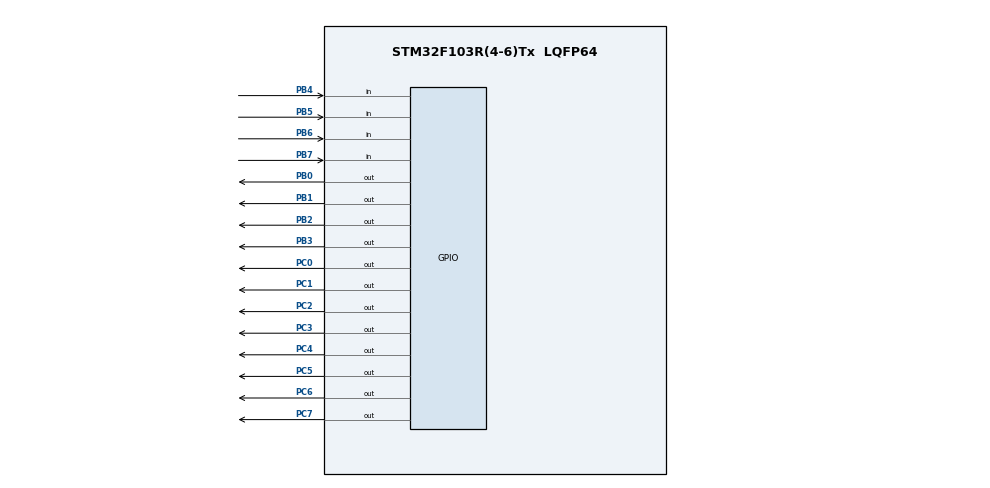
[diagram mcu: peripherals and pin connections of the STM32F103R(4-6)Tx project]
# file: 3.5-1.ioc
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Mcu.Family=STM32F1
Mcu.Name=STM32F103R(4-6)Tx
Mcu.Package=LQFP64
NVIC.PriorityGroup=NVIC_PRIORITYGROUP_4
PB0.PinState=GPIO_PIN_SET
PB0.Signal=GPIO_Output
PB1.PinState=GPIO_PIN_SET
PB1.Signal=GPIO_Output
PB2.PinState=GPIO_PIN_SET
PB2.Signal=GPIO_Output
PB3.PinState=GPIO_PIN_SET
PB3.Signal=GPIO_Output
PB4.Signal=GPIO_Input
PB5.Signal=GPIO_Input
PB6.Signal=GPIO_Input
PB7.Signal=GPIO_Input
PC0.PinState=GPIO_PIN_SET
PC0.Signal=GPIO_Output
PC1.PinState=GPIO_PIN_SET
PC1.Signal=GPIO_Output
PC2.PinState=GPIO_PIN_SET
PC2.Signal=GPIO_Output
PC3.PinState=GPIO_PIN_SET
PC3.Signal=GPIO_Output
PC4.PinState=GPIO_PIN_SET
PC4.Signal=GPIO_Output
PC5.PinState=GPIO_PIN_SET
PC5.Signal=GPIO_Output
PC6.PinState=GPIO_PIN_SET
PC6.Signal=GPIO_Output
PC7.PinState=GPIO_PIN_SET
PC7.Signal=GPIO_Output
ProjectManager.HeapSize=0x200
ProjectManager.StackSize=0x400
ProjectManager.TargetToolchain=STM32CubeIDE
RCC.APB1Freq_Value=8000000
RCC.APB2Freq_Value=8000000
VP_SYS_VS_ND.Mode=No_Debug
board=custom

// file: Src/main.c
/* USER CODE BEGIN Header */
/**
  ******************************************************************************
  * @file           : main.c
  * @brief          : Main program body
  ******************************************************************************
  * @attention
  *
  * <h2><center>&copy; Copyright (c) 2019 STMicroelectronics.
  * All rights reserved.</center></h2>
  *
  * This software component is licensed by ST under BSD 3-Clause license,
  * the "License"; You may not use this file except in compliance with the
  * License. You may obtain a copy of the License at:
  *                        opensource.org/licenses/BSD-3-Clause
  *
  ******************************************************************************
  */
/* USER CODE END Header */

#include "main.h"

/* USER CODE BEGIN PV */
//共阳极数码管0~f的段码
const uint8_t SegmentCodes[]=
{
0xc0,0xf9,0xa4,0xb0,0x99,
0x92,0x82,0xf8,0x80,0x90,
0x88,0x83,0xc6,0xa1,0x86,0x8e
};
/* USER CODE END PV */

void SystemClock_Config(void);
static void MX_GPIO_Init(void);
/* USER CODE BEGIN PFP */
void ByteOut2PC(uint8_t dat);
/* USER CODE END PFP */

int main(void)
{
  /* USER CODE BEGIN 1 */
	uint8_t KeyValue=0x10;  //按下的键码
  /* USER CODE END 1 */

  /* MCU Configuration--------------------------------------------------------*/

  /* Reset of all peripherals, Initializes the Flash interface and the Systick. */
  HAL_Init();

  /* Configure the system clock */
  SystemClock_Config();

  /* Initialize all configured peripherals */
  MX_GPIO_Init();

  /* Infinite loop */
  /* USER CODE BEGIN WHILE */
  while (1)
  {
	  //扫描第一行
	  HAL_GPIO_WritePin(GPIOB,GPIO_PIN_3,1);
	  HAL_GPIO_WritePin(GPIOB,GPIO_PIN_0,0);
	  if(HAL_GPIO_ReadPin(GPIOB,GPIO_PIN_4)==0)
	  {
		  HAL_Delay(20);
		  KeyValue=0;
		  while(HAL_GPIO_ReadPin(GPIOB,GPIO_PIN_4)==0);
		  HAL_Delay(20);
	  }
	  else if(HAL_GPIO_ReadPin(GPIOB,GPIO_PIN_5)==0)
	  {
		  HAL_Delay(20);
		  KeyValue=1;
		  while(HAL_GPIO_ReadPin(GPIOB,GPIO_PIN_5)==0);
		  HAL_Delay(20);
	  }
	  else if(HAL_GPIO_ReadPin(GPIOB,GPIO_PIN_6)==0)
	  {
		  HAL_Delay(20);
		  KeyValue=2;
		  while(HAL_GPIO_ReadPin(GPIOB,GPIO_PIN_6)==0);
		  HAL_Delay(20);
	  }
	  else if(HAL_GPIO_ReadPin(GPIOB,GPIO_PIN_7)==0)
	  {
		  HAL_Delay(20);
		  KeyValue=3;
		  while(HAL_GPIO_ReadPin(GPIOB,GPIO_PIN_7)==0);
		  HAL_Delay(20);
	  }
	  //扫描第二行
	  HAL_GPIO_WritePin(GPIOB,GPIO_PIN_0,1);
	  HAL_GPIO_WritePin(GPIOB,GPIO_PIN_1,0);
	  if(HAL_GPIO_ReadPin(GPIOB,GPIO_PIN_4)==0)
	  {
		  HAL_Delay(20);
		  KeyValue=4;
		  while(HAL_GPIO_ReadPin(GPIOB,GPIO_PIN_4)==0);
		  HAL_Delay(20);
	  }
	  else if(HAL_GPIO_ReadPin(GPIOB,GPIO_PIN_5)==0)
	  {
		  HAL_Delay(20);
		  KeyValue=5;
		  while(HAL_GPIO_ReadPin(GPIOB,GPIO_PIN_5)==0);
		  HAL_Delay(20);
	  }
	  else if(HAL_GPIO_ReadPin(GPIOB,GPIO_PIN_6)==0)
	  {
		  HAL_Delay(20);
		  KeyValue=6;
		  while(HAL_GPIO_ReadPin(GPIOB,GPIO_PIN_6)==0);
		  HAL_Delay(20);
	  }
	  else if(HAL_GPIO_ReadPin(GPIOB,GPIO_PIN_7)==0)
	  {
		  HAL_Delay(20);
		  KeyValue=7;
		  while(HAL_GPIO_ReadPin(GPIOB,GPIO_PIN_7)==0);
		  HAL_Delay(20);
	  }
	  //扫描第三行
	  HAL_GPIO_WritePin(GPIOB,GPIO_PIN_1,1);
	  HAL_GPIO_WritePin(GPIOB,GPIO_PIN_2,0);
	  if(HAL_GPIO_ReadPin(GPIOB,GPIO_PIN_4)==0)
	  {
		  HAL_Delay(20);
		  KeyValue=8;
		  while(HAL_GPIO_ReadPin(GPIOB,GPIO_PIN_4)==0);
		  HAL_Delay(20);
	  }
	  else if(HAL_GPIO_ReadPin(GPIOB,GPIO_PIN_5)==0)
	  {
		  HAL_Delay(20);
		  KeyValue=9;
		  while(HAL_GPIO_ReadPin(GPIOB,GPIO_PIN_5)==0);
		  HAL_Delay(20);
	  }
	  else if(HAL_GPIO_ReadPin(GPIOB,GPIO_PIN_6)==0)
	  {
		  HAL_Delay(20);
		  KeyValue=10;
		  while(HAL_GPIO_ReadPin(GPIOB,GPIO_PIN_6)==0);
		  HAL_Delay(20);
	  }
	  else if(HAL_GPIO_ReadPin(GPIOB,GPIO_PIN_7)==0)
	  {
		  HAL_Delay(20);
		  KeyValue=11;
		  while(HAL_GPIO_ReadPin(GPIOB,GPIO_PIN_7)==0);
		  HAL_Delay(20);
	  }
	  //扫描第四行
	  HAL_GPIO_WritePin(GPIOB,GPIO_PIN_2,1);
	  HAL_GPIO_WritePin(GPIOB,GPIO_PIN_3,0);
	  if(HAL_GPIO_ReadPin(GPIOB,GPIO_PIN_4)==0)
	  {
		  HAL_Delay(20);
		  KeyValue=12;
		  while(HAL_GPIO_ReadPin(GPIOB,GPIO_PIN_4)==0);
		  HAL_Delay(20);
	  }
	  else if(HAL_GPIO_ReadPin(GPIOB,GPIO_PIN_5)==0)
	  {
		  HAL_Delay(20);
		  KeyValue=13;
		  while(HAL_GPIO_ReadPin(GPIOB,GPIO_PIN_5)==0);
		  HAL_Delay(20);
	  }
	  else if(HAL_GPIO_ReadPin(GPIOB,GPIO_PIN_6)==0)
	  {
		  HAL_Delay(20);
		  KeyValue=14;
		  while(HAL_GPIO_ReadPin(GPIOB,GPIO_PIN_6)==0);
		  HAL_Delay(20);
	  }
	  else if(HAL_GPIO_ReadPin(GPIOB,GPIO_PIN_7)==0)
	  {
		  HAL_Delay(20);
		  KeyValue=15;
		  while(HAL_GPIO_ReadPin(GPIOB,GPIO_PIN_7)==0);
		  HAL_Delay(20);
	  }
	  if(KeyValue>=0 && KeyValue<=0xf)ByteOut2PC(SegmentCodes[KeyValue]);
    /* USER CODE END WHILE */

  }
}

void SystemClock_Config(void)
{
  RCC_OscInitTypeDef RCC_OscInitStruct = {0};
  RCC_ClkInitTypeDef RCC_ClkInitStruct = {0};

  /** Initializes the CPU, AHB and APB busses clocks
  */
  RCC_OscInitStruct.OscillatorType = RCC_OSCILLATORTYPE_HSI;
  RCC_OscInitStruct.HSIState = RCC_HSI_ON;
  RCC_OscInitStruct.HSICalibrationValue = RCC_HSICALIBRATION_DEFAULT;
  RCC_OscInitStruct.PLL.PLLState = RCC_PLL_NONE;
  if (HAL_RCC_OscConfig(&RCC_OscInitStruct) != HAL_OK)
  {
    Error_Handler();
  }
  /** Initializes the CPU, AHB and APB busses clocks
  */
  RCC_ClkInitStruct.ClockType = RCC_CLOCKTYPE_HCLK|RCC_CLOCKTYPE_SYSCLK
                              |RCC_CLOCKTYPE_PCLK1|RCC_CLOCKTYPE_PCLK2;
  RCC_ClkInitStruct.SYSCLKSource = RCC_SYSCLKSOURCE_HSI;
  RCC_ClkInitStruct.AHBCLKDivider = RCC_SYSCLK_DIV1;
  RCC_ClkInitStruct.APB1CLKDivider = RCC_HCLK_DIV1;
  RCC_ClkInitStruct.APB2CLKDivider = RCC_HCLK_DIV1;

  if (HAL_RCC_ClockConfig(&RCC_ClkInitStruct, FLASH_LATENCY_0) != HAL_OK)
  {
    Error_Handler();
  }
}

static void MX_GPIO_Init(void)
{
  GPIO_InitTypeDef GPIO_InitStruct = {0};

  /* GPIO Ports Clock Enable */
  __HAL_RCC_GPIOC_CLK_ENABLE();
  __HAL_RCC_GPIOB_CLK_ENABLE();

  /*Configure GPIO pin Output Level */
  HAL_GPIO_WritePin(GPIOC, GPIO_PIN_0|GPIO_PIN_1|GPIO_PIN_2|GPIO_PIN_3
                          |GPIO_PIN_4|GPIO_PIN_5|GPIO_PIN_6|GPIO_PIN_7, GPIO_PIN_SET);

  /*Configure GPIO pin Output Level */
  HAL_GPIO_WritePin(GPIOB, GPIO_PIN_0|GPIO_PIN_1|GPIO_PIN_2|GPIO_PIN_3, GPIO_PIN_SET);

  /*Configure GPIO pins : PC0 PC1 PC2 PC3
                           PC4 PC5 PC6 PC7 */
  GPIO_InitStruct.Pin = GPIO_PIN_0|GPIO_PIN_1|GPIO_PIN_2|GPIO_PIN_3
                          |GPIO_PIN_4|GPIO_PIN_5|GPIO_PIN_6|GPIO_PIN_7;
  GPIO_InitStruct.Mode = GPIO_MODE_OUTPUT_PP;
  GPIO_InitStruct.Pull = GPIO_NOPULL;
  GPIO_InitStruct.Speed = GPIO_SPEED_FREQ_LOW;
  HAL_GPIO_Init(GPIOC, &GPIO_InitStruct);

  /*Configure GPIO pins : PB0 PB1 PB2 PB3 */
  GPIO_InitStruct.Pin = GPIO_PIN_0|GPIO_PIN_1|GPIO_PIN_2|GPIO_PIN_3;
  GPIO_InitStruct.Mode = GPIO_MODE_OUTPUT_PP;
  GPIO_InitStruct.Pull = GPIO_NOPULL;
  GPIO_InitStruct.Speed = GPIO_SPEED_FREQ_LOW;
  HAL_GPIO_Init(GPIOB, &GPIO_InitStruct);

  /*Configure GPIO pins : PB4 PB5 PB6 PB7 */
  GPIO_InitStruct.Pin = GPIO_PIN_4|GPIO_PIN_5|GPIO_PIN_6|GPIO_PIN_7;
  GPIO_InitStruct.Mode = GPIO_MODE_INPUT;
  GPIO_InitStruct.Pull = GPIO_NOPULL;
  HAL_GPIO_Init(GPIOB, &GPIO_InitStruct);

}

/* USER CODE BEGIN 4 */
//自定义函数，将1个字节的数据输出到PC端口的PC0~PC7
void ByteOut2PC(uint8_t dat)
{
	if(dat & 0x01)HAL_GPIO_WritePin(GPIOC,GPIO_PIN_0,1);
	else          HAL_GPIO_WritePin(GPIOC,GPIO_PIN_0,0);
	if(dat & 0x02)HAL_GPIO_WritePin(GPIOC,GPIO_PIN_1,1);
	else          HAL_GPIO_WritePin(GPIOC,GPIO_PIN_1,0);
	if(dat & 0x04)HAL_GPIO_WritePin(GPIOC,GPIO_PIN_2,1);
	else          HAL_GPIO_WritePin(GPIOC,GPIO_PIN_2,0);
	if(dat & 0x08)HAL_GPIO_WritePin(GPIOC,GPIO_PIN_3,1);
	else          HAL_GPIO_WritePin(GPIOC,GPIO_PIN_3,0);
	if(dat & 0x10)HAL_GPIO_WritePin(GPIOC,GPIO_PIN_4,1);
	else          HAL_GPIO_WritePin(GPIOC,GPIO_PIN_4,0);
	if(dat & 0x20)HAL_GPIO_WritePin(GPIOC,GPIO_PIN_5,1);
	else          HAL_GPIO_WritePin(GPIOC,GPIO_PIN_5,0);
	if(dat & 0x40)HAL_GPIO_WritePin(GPIOC,GPIO_PIN_6,1);
	else          HAL_GPIO_WritePin(GPIOC,GPIO_PIN_6,0);
	if(dat & 0x80)HAL_GPIO_WritePin(GPIOC,GPIO_PIN_7,1);
	else          HAL_GPIO_WritePin(GPIOC,GPIO_PIN_7,0);
}
/* USER CODE END 4 */

void Error_Handler(void)
{
}

/************************ (C) COPYRIGHT STMicroelectronics *****END OF FILE****/
